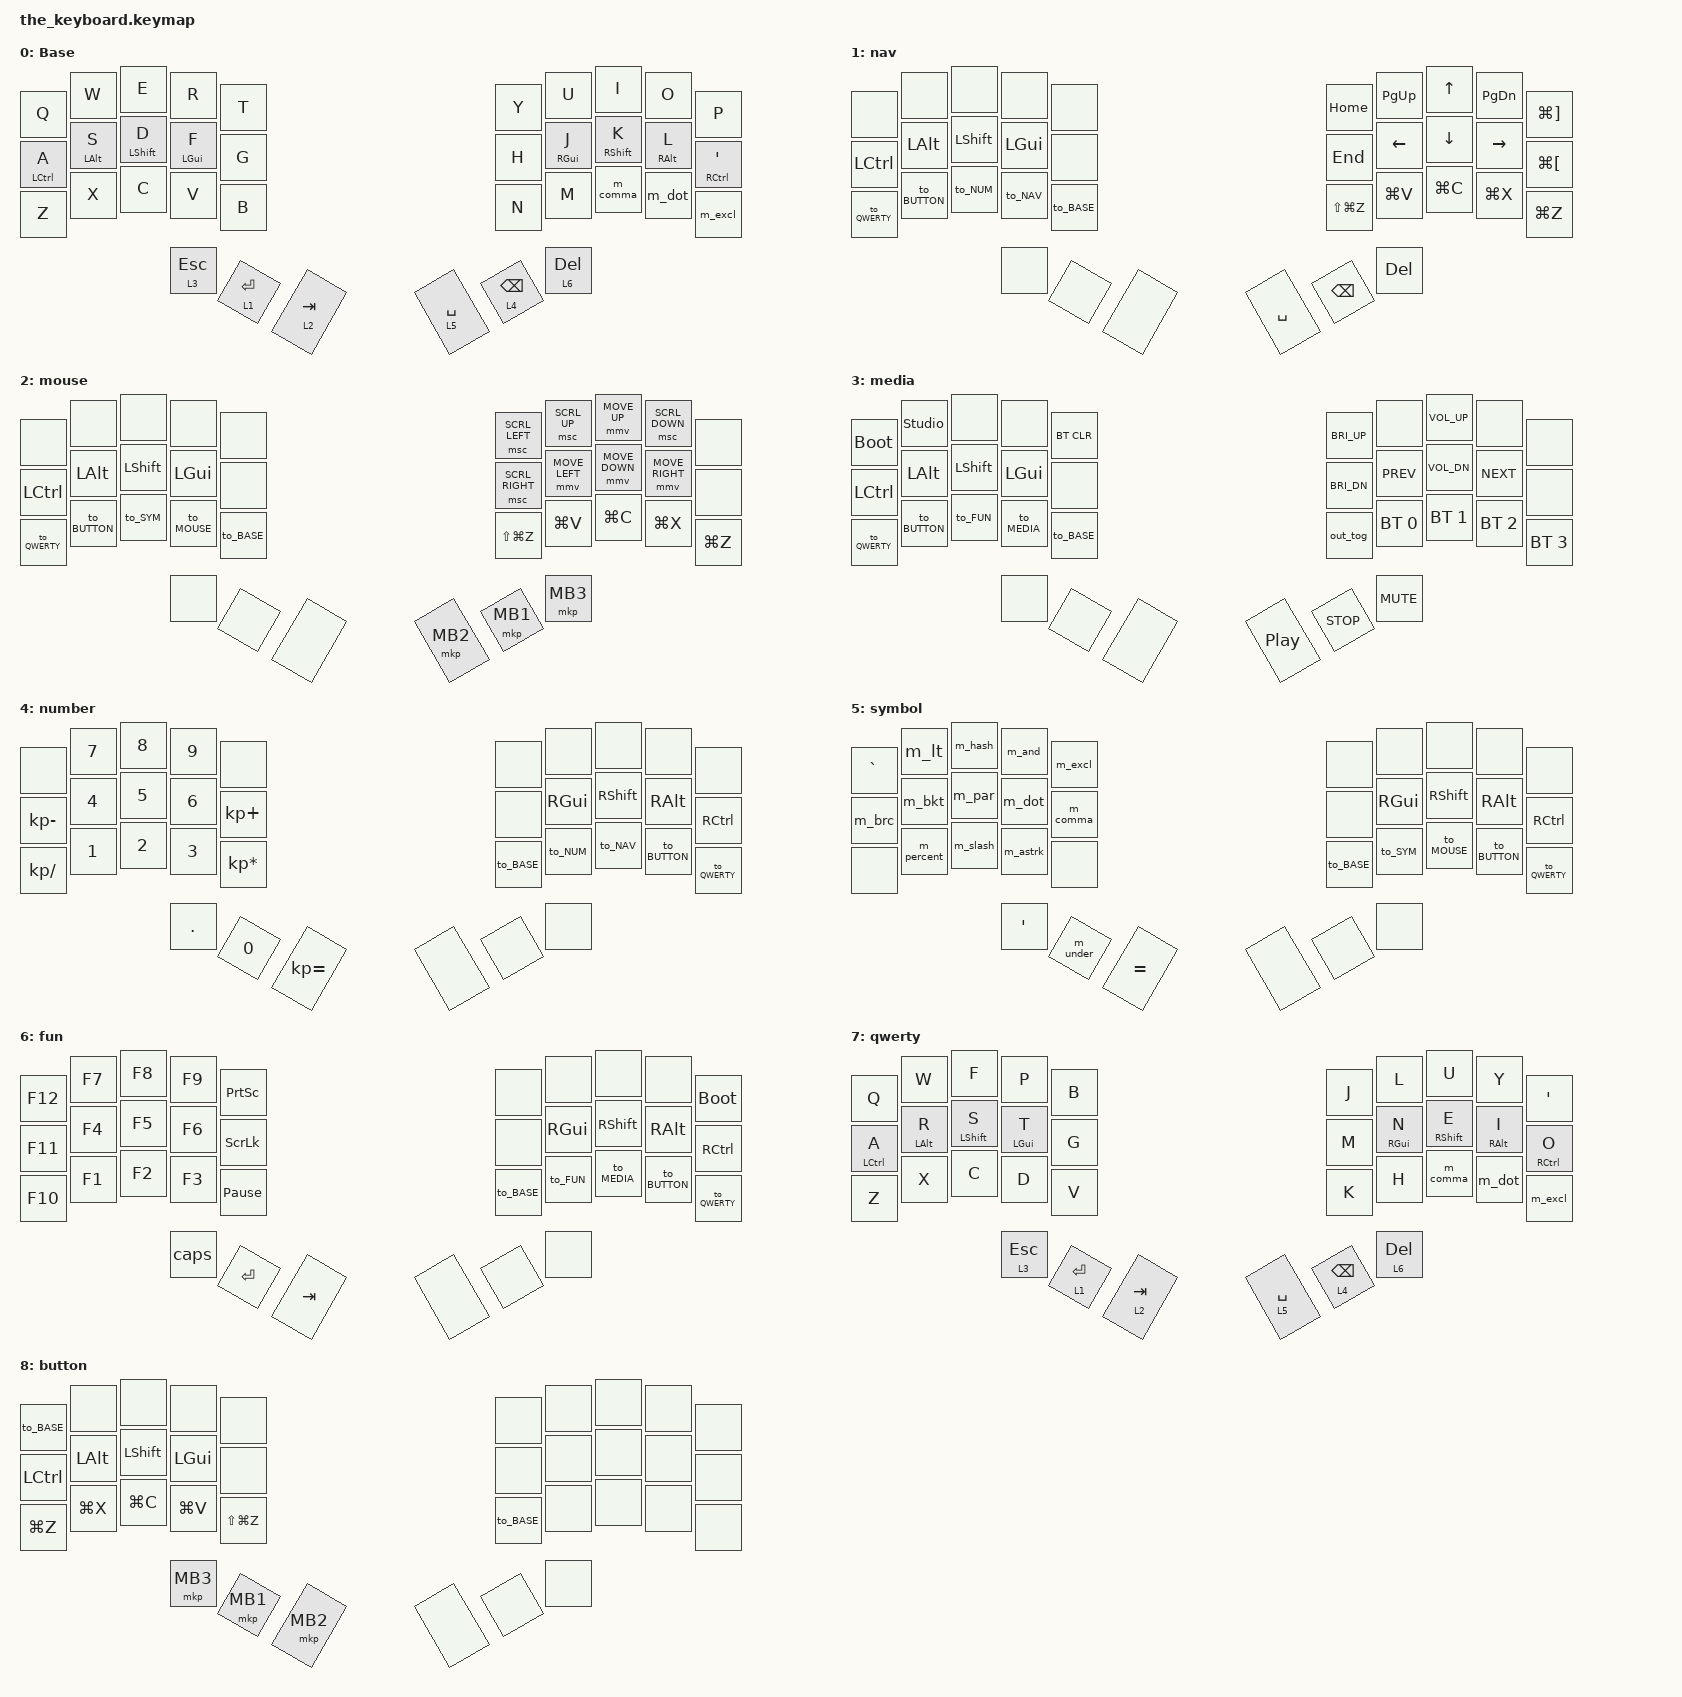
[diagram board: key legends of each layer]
#define ZMK_POINTING_DEFAULT_MOVE_VAL 1500  // default: 600
#define ZMK_POINTING_DEFAULT_SCRL_VAL 20    // default: 10

#include <behaviors.dtsi>
#include <dt-bindings/zmk/bt.h>
#include <dt-bindings/zmk/keys.h>
#include <dt-bindings/zmk/outputs.h>
#include <dt-bindings/zmk/pointing.h>

&mmv {
    time-to-max-speed-ms = <300>;
    acceleration-exponent = <1>;
};

&msc {
    time-to-max-speed-ms = <300>;
    acceleration-exponent = <0>;
};

/ {
    behaviors {
        out_tog: out_tog {
            compatible = "zmk,behavior-mod-morph";
            display-name = "OUT_TOG";
            #binding-cells = <0>;
            bindings = <&out OUT_BLE>, <&out OUT_USB>;

            mods = <(MOD_LSFT|MOD_RSFT)>;
        };

        caps: caps {
            compatible = "zmk,behavior-mod-morph";
            display-name = "CAPS";
            #binding-cells = <0>;
            bindings = <&caps_word>, <&kp CAPS>;

            mods = <(MOD_LSFT|MOD_RSFT)>;
        };

        to_BASE: to_BASE {
            compatible = "zmk,behavior-tap-dance";
            display-name = "TO_BASE";
            #binding-cells = <0>;
            tapping-term-ms = <200>;
            bindings = <&none>, <&to 0>;
        };

        to_QWERTY: to_QWERTY {
            compatible = "zmk,behavior-tap-dance";
            display-name = "TO_QWERTY";
            #binding-cells = <0>;
            tapping-term-ms = <200>;
            bindings = <&none>, <&to 7>;
        };

        to_BUTTON: to_BUTTON {
            compatible = "zmk,behavior-tap-dance";
            display-name = "TO_BUTTON";
            #binding-cells = <0>;
            tapping-term-ms = <200>;
            bindings = <&none>, <&to 8>;
        };

        to_NAV: to_NAV {
            compatible = "zmk,behavior-tap-dance";
            display-name = "TO_NAV";
            #binding-cells = <0>;
            tapping-term-ms = <200>;
            bindings = <&none>, <&to 1>;
        };

        to_MOUSE: to_MOUSE {
            compatible = "zmk,behavior-tap-dance";
            display-name = "TO_MOUSE";
            #binding-cells = <0>;
            tapping-term-ms = <200>;
            bindings = <&none>, <&to 2>;
        };

        to_MEDIA: to_MEDIA {
            compatible = "zmk,behavior-tap-dance";
            display-name = "TO_MEDIA";
            #binding-cells = <0>;
            tapping-term-ms = <200>;
            bindings = <&none>, <&to 3>;
        };

        to_NUM: to_NUM {
            compatible = "zmk,behavior-tap-dance";
            display-name = "TO_NUM";
            #binding-cells = <0>;
            tapping-term-ms = <200>;
            bindings = <&none>, <&to 4>;
        };

        to_SYM: to_SYM {
            compatible = "zmk,behavior-tap-dance";
            display-name = "TO_SYM";
            #binding-cells = <0>;
            tapping-term-ms = <200>;
            bindings = <&none>, <&to 5>;
        };

        to_FUN: to_FUN {
            compatible = "zmk,behavior-tap-dance";
            display-name = "TO_FUN";
            #binding-cells = <0>;
            tapping-term-ms = <200>;
            bindings = <&none>, <&to 6>;
        };

        hml: hml {
            compatible = "zmk,behavior-hold-tap";
            display-name = "HML";
            #binding-cells = <2>;
            flavor = "balanced";
            bindings = <&kp>, <&kp>;

            hold-trigger-key-positions = <5 6 7 8 9 15 16 17 18 19 25 26 27 28 29 33 34 35>;
            tapping-term-ms = <280>;
            quick-tap-ms = <175>;
            require-prior-idle-ms = <150>;
            hold-trigger-on-release;
        };

        hmr: hmr {
            compatible = "zmk,behavior-hold-tap";
            display-name = "HMR";
            #binding-cells = <2>;
            flavor = "balanced";
            bindings = <&kp>, <&kp>;

            hold-trigger-key-positions = <0 1 2 3 4 10 11 12 13 14 20 21 22 23 24 30 31 32>;
            tapping-term-ms = <280>;
            quick-tap-ms = <175>;
            require-prior-idle-ms = <150>;
            hold-trigger-on-release;
        };

        m_comma: m_comma {
            compatible = "zmk,behavior-mod-morph";
            display-name = "M_COMMA";
            bindings = <&kp COMMA>, <&kp SEMI>;

            #binding-cells = <0>;
            mods = <(MOD_LSFT|MOD_RSFT)>;
        };

        m_dot: m_dot {
            compatible = "zmk,behavior-mod-morph";
            display-name = "M_DOT";
            bindings = <&kp DOT>, <&kp COLON>;

            #binding-cells = <0>;
            mods = <(MOD_LSFT|MOD_RSFT)>;
        };

        to_bl: to_bl {
            compatible = "zmk,behavior-tap-dance";
            display-name = "TO_BL";
            #binding-cells = <0>;
            bindings = <&none>, <&bootloader>;

            tapping-term-ms = <200>;
        };

        m_par: m_par {
            compatible = "zmk,behavior-mod-morph";
            display-name = "M_PAR";
            bindings = <&kp LPAR>, <&kp RPAR>;

            #binding-cells = <0>;
            mods = <(MOD_LSFT|MOD_RSFT)>;
        };

        m_brc: m_brc {
            compatible = "zmk,behavior-mod-morph";
            display-name = "M_BRC";
            bindings = <&kp LBRC>, <&kp RBRC>;

            #binding-cells = <0>;
            mods = <(MOD_LSFT|MOD_RSFT)>;
        };

        m_bkt: m_bkt {
            compatible = "zmk,behavior-mod-morph";
            display-name = "M_BKT";
            bindings = <&kp LBKT>, <&kp RBKT>;

            #binding-cells = <0>;
            mods = <(MOD_LSFT|MOD_RSFT)>;
        };

        m_lt: m_lt {
            compatible = "zmk,behavior-mod-morph";
            display-name = "M_LT";
            bindings = <&kp LT>, <&kp GT>;

            #binding-cells = <0>;
            mods = <(MOD_LSFT|MOD_RSFT)>;
        };

        m_astrk: m_astrk {
            compatible = "zmk,behavior-mod-morph";
            display-name = "M_ASTRK";
            bindings = <&kp ASTRK>, <&kp CARET>;

            #binding-cells = <0>;
            mods = <(MOD_LSFT|MOD_RSFT)>;
        };

        m_and: m_and {
            compatible = "zmk,behavior-mod-morph";
            display-name = "M_AND";
            bindings = <&kp AMPERSAND>, <&kp PIPE>;

            #binding-cells = <0>;
            mods = <(MOD_LSFT|MOD_RSFT)>;
        };

        m_excl: m_excl {
            compatible = "zmk,behavior-mod-morph";
            display-name = "M_EXCL";
            bindings = <&kp EXCL>, <&kp QUESTION>;

            #binding-cells = <0>;
            mods = <(MOD_LSFT|MOD_RSFT)>;
        };

        m_slash: m_slash {
            compatible = "zmk,behavior-mod-morph";
            display-name = "M_SLASH";
            bindings = <&kp KP_SLASH>, <&kp BACKSLASH>;

            #binding-cells = <0>;
            mods = <(MOD_LSFT|MOD_RSFT)>;
        };

        m_under: m_under {
            compatible = "zmk,behavior-mod-morph";
            display-name = "M_UNDER";
            bindings = <&kp UNDER>, <&kp KP_MINUS>;

            #binding-cells = <0>;
            mods = <(MOD_LSFT|MOD_RSFT)>;
        };

        m_hash: m_hash {
            compatible = "zmk,behavior-mod-morph";
            display-name = "M_HASH";
            bindings = <&kp HASH>, <&kp AT>;

            #binding-cells = <0>;
            mods = <(MOD_LSFT|MOD_RSFT)>;
        };

        m_percent: m_percent {
            compatible = "zmk,behavior-mod-morph";
            display-name = "M_PERCENT";
            bindings = <&kp PERCENT>, <&kp DOLLAR>;

            #binding-cells = <0>;
            mods = <(MOD_LSFT|MOD_RSFT)>;
        };
    };

    keymap {
        compatible = "zmk,keymap";

        base {
            display-name = "Base";
            bindings = <
&kp Q         &kp W        &kp E          &kp R        &kp T        &kp Y        &kp U            &kp I         &kp O        &kp P
&hml LCTRL A  &hml LALT S  &hml LSHIFT D  &hml LGUI F  &kp G        &kp H        &hmr RGUI J      &hmr RSHFT K  &hmr RALT L  &hmr RCTRL SQT
&kp Z         &kp X        &kp C          &kp V        &kp B        &kp N        &kp M            &m_comma      &m_dot       &m_excl
                           &lt 3 ESC      &lt 1 ENTER  &lt 2 TAB    &lt 5 SPACE  &lt 4 BACKSPACE  &lt 6 DEL
            >;
        };

        nav {
            bindings = <
&none       &none       &none       &none     &none       &kp HOME       &kp PG_UP  &kp UP     &kp PG_DN  &kp LG(RBKT)
&kp LCTRL   &kp LALT    &kp LSHIFT  &kp LGUI  &none       &kp END        &kp LEFT   &kp DOWN   &kp RIGHT  &kp LG(LBKT)
&to_QWERTY  &to_BUTTON  &to_NUM     &to_NAV   &to_BASE    &kp LS(LG(Z))  &kp LG(V)  &kp LG(C)  &kp LG(X)  &kp LG(Z)
                        &none       &none     &none       &kp SPACE      &kp BSPC   &kp DEL
            >;
        };

        mouse {
            bindings = <
&none       &none       &none       &none      &none       &msc SCRL_LEFT   &msc SCRL_UP    &mmv MOVE_UP    &msc SCRL_DOWN   &none
&kp LCTRL   &kp LALT    &kp LSHIFT  &kp LGUI   &none       &msc SCRL_RIGHT  &mmv MOVE_LEFT  &mmv MOVE_DOWN  &mmv MOVE_RIGHT  &none
&to_QWERTY  &to_BUTTON  &to_SYM     &to_MOUSE  &to_BASE    &kp LS(LG(Z))    &kp LG(V)       &kp LG(C)       &kp LG(X)        &kp LG(Z)
                        &none       &none      &none       &mkp MB2         &mkp MB1        &mkp MB3
            >;
        };

        media {
            bindings = <
&bootloader  &studio_unlock  &none       &none      &bt BT_CLR    &kp C_BRI_UP      &none         &kp C_VOL_UP  &none         &none
&kp LCTRL    &kp LALT        &kp LSHIFT  &kp LGUI   &none         &kp C_BRI_DN      &kp C_PREV    &kp C_VOL_DN  &kp C_NEXT    &none
&to_QWERTY   &to_BUTTON      &to_FUN     &to_MEDIA  &to_BASE      &out_tog          &bt BT_SEL 0  &bt BT_SEL 1  &bt BT_SEL 2  &bt BT_SEL 3
                             &none       &none      &none         &kp C_PLAY_PAUSE  &kp C_STOP    &kp C_MUTE
            >;
        };

        number {
            bindings = <
&none          &kp N7  &kp N8   &kp N9  &none              &none     &none     &none       &none       &none
&kp KP_MINUS   &kp N4  &kp N5   &kp N6  &kp KP_PLUS        &none     &kp RGUI  &kp RSHIFT  &kp RALT    &kp RCTRL
&kp KP_DIVIDE  &kp N1  &kp N2   &kp N3  &kp KP_ASTERISK    &to_BASE  &to_NUM   &to_NAV     &to_BUTTON  &to_QWERTY
                       &kp DOT  &kp N0  &kp KP_EQUAL       &none     &none     &none
            >;
        };

        symbol {
            bindings = <
&kp GRAVE  &m_lt       &m_hash   &m_and    &m_excl      &none     &none     &none       &none       &none
&m_brc     &m_bkt      &m_par    &m_dot    &m_comma     &none     &kp RGUI  &kp RSHIFT  &kp RALT    &kp RCTRL
&none      &m_percent  &m_slash  &m_astrk  &none        &to_BASE  &to_SYM   &to_MOUSE   &to_BUTTON  &to_QWERTY
                       &kp APOS  &m_under  &kp EQUAL    &none     &none     &none
            >;
        };

        fun {
            bindings = <
&kp F12  &kp F7  &kp F8  &kp F9   &kp PSCRN          &none     &none     &none       &none       &bootloader
&kp F11  &kp F4  &kp F5  &kp F6   &kp SLCK           &none     &kp RGUI  &kp RSHIFT  &kp RALT    &kp RCTRL
&kp F10  &kp F1  &kp F2  &kp F3   &kp PAUSE_BREAK    &to_BASE  &to_FUN   &to_MEDIA   &to_BUTTON  &to_QWERTY
                 &caps   &kp RET  &kp TAB            &none     &none     &none
            >;
        };

        qwerty {
            bindings = <
&kp Q         &kp W        &kp F          &kp P        &kp B        &kp J        &kp L            &kp U          &kp Y        &kp SQT
&hml LCTRL A  &hml LALT R  &hml LSHIFT S  &hml LGUI T  &kp G        &kp M        &hmr RGUI N      &hmr RSHIFT E  &hmr RALT I  &hmr RCTRL O
&kp Z         &kp X        &kp C          &kp D        &kp V        &kp K        &kp H            &m_comma       &m_dot       &m_excl
                           &lt 3 ESC      &lt 1 ENTER  &lt 2 TAB    &lt 5 SPACE  &lt 4 BACKSPACE  &lt 6 DEL
            >;
        };

        button {
            bindings = <
&to_BASE   &none      &none       &none      &none            &none     &none  &none  &none  &none
&kp LCTRL  &kp LALT   &kp LSHIFT  &kp LGUI   &none            &none     &none  &none  &none  &none
&kp LG(Z)  &kp LG(X)  &kp LG(C)   &kp LG(V)  &kp LS(LG(Z))    &to_BASE  &none  &none  &none  &none
                      &mkp MB3    &mkp MB1   &mkp MB2         &none     &none  &none
            >;
        };
    };
};

/*
        // -------------------------------------------------------------------------------------
        // |   Q   |   W   |   F   |   P   |   B   |   |   J   |   L   |   U   |   Y   |   ;:  |
        // |   A   |   R   |   S   |   T   |   G   |   |   M   |   N   |   E   |   I   |   O   |
        // |   Z   |   X   |   C   |   D   |   V   |   |   K   |   H   |   ,<  |   .>  |   /?  |
        //                 |       |  TAB  |  SPC  |   |  BSPC |  ENT  |  SYM  |

        // -------------------------------------------------------------------------------------
        // |   Q   |   W   |   E   |   R   |   T   |   |   Y   |   U   |   I   |   O   |   P   |
        // |   A   |   S   |   D   |   F   |   G   |   |   H   |   J   |   K   |   L   |   ;:  |
        // |   Z   |   X   |   C   |   V   |   B   |   |   N   |   M   |   ,<  |   . > |   /?  |
        //                 | CTRL  | (NAV) | SHIFT |   | SPACE |  SYM  |  ALT  |

        // -------------------------------------------------------------------------------------
        // |  ESC  |   @   |   #   |   $   |   %   |   |   ^   |   &   |   *   |   !   | BSPC  |
        // |  TAB  |   =   |   _   |   '   |   :   |   |   \   |   (   |   )   |   |   | ENTER |
        // |   `   |   +   |   -   |   "   |   ~   |   |   {   |   [   |   ]   |   }   |       |
        //                 | CTRL  | BASE  |  CMD  |   | SPACE |  NUM  |  ALT  |

        // -------------------------------------------------------------------------------------
        // |  ESC  |       | BR-   |  BR+  |   _   |   |   -   |   7   |   8   |   9   |   /   |
        // |  TAB  |       | VOL-  | VOL+  |   +   |   |   =   |   4   |   5   |   6   |   *   |
        // |   `   | PREV  | PLAY  | NEXT  |   .   |   |   0   |   1   |   2   |   3   |       |
        //                 | CTRL  | BASE  | SHIFT |   | SPACE |       |  ALT  |

*/
